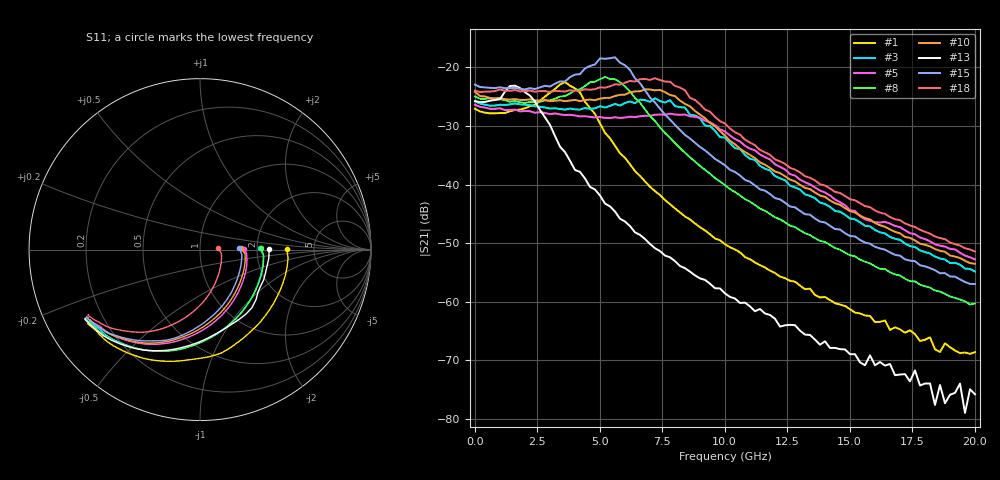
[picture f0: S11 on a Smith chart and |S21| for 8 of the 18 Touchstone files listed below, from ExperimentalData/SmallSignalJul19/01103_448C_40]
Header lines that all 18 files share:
!;Filter: kein Filter
!auto
!SP-Measurements Prober G4
!SP-Measurements Prober G4
!01103_448C
!134
!12
!40
!-20
# Hz S  RI  R 50
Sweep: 10 MHz to 20.01 GHz
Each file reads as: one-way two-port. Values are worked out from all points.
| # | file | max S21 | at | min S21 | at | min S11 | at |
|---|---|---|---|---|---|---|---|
| 1 | 01103_448C_C134R233_I_1mA_40°C.s2p | -22.49 dB | 3.61 GHz | -68.9 dB | 19.81 GHz | -5.9 dB | 10 MHz |
| 2 | 01103_448C_C134R233_I_2mA_40°C.s2p | -24.35 dB | 6.41 GHz | -58.2 dB | 20.01 GHz | -7.6 dB | 10 MHz |
| 3 | 01103_448C_C134R233_I_3mA_40°C.s2p | -25.26 dB | 7.21 GHz | -54.9 dB | 20.01 GHz | -9.1 dB | 10 MHz |
| 4 | 01103_448C_C134R233_I_4mA_40°C.s2p | -26.09 dB | 10 MHz | -53.2 dB | 20.01 GHz | -10.4 dB | 10 MHz |
| 5 | 01103_448C_C134R233_I_5mA_40°C.s2p | -26.38 dB | 10 MHz | -52.8 dB | 20.01 GHz | -11.7 dB | 10 MHz |
| 6 | 01103_448C_C134R233_I_6mA_40°C.s2p | -27.25 dB | 10 MHz | -53.1 dB | 20.01 GHz | -13.2 dB | 10 MHz |
| 7 | 01103_448C_C134R235_I_1mA_40°C.s2p | -21.65 dB | 2.61 GHz | -72.7 dB | 19.41 GHz | -6.9 dB | 10 MHz |
| 8 | 01103_448C_C134R235_I_2mA_40°C.s2p | -21.63 dB | 5.21 GHz | -60.5 dB | 19.81 GHz | -8.9 dB | 10 MHz |
| 9 | 01103_448C_C134R235_I_3mA_40°C.s2p | -22.00 dB | 6.21 GHz | -56.0 dB | 20.01 GHz | -10.7 dB | 10 MHz |
| 10 | 01103_448C_C134R235_I_4mA_40°C.s2p | -23.75 dB | 6.81 GHz | -53.5 dB | 20.01 GHz | -12.4 dB | 10 MHz |
| 11 | 01103_448C_C134R235_I_5mA_40°C.s2p | -24.77 dB | 7.21 GHz | -52.2 dB | 20.01 GHz | -14.1 dB | 10 MHz |
| 12 | 01103_448C_C134R235_I_6mA_40°C.s2p | -25.60 dB | 10 MHz | -51.9 dB | 20.01 GHz | -15.7 dB | 10 MHz |
| 13 | 01103_448C_C134R237_I_1mA_40°C.s2p | -23.12 dB | 1.61 GHz | -79.0 dB | 19.61 GHz | -7.9 dB | 410 MHz |
| 14 | 01103_448C_C134R237_I_2mA_40°C.s2p | -18.59 dB | 4.41 GHz | -62.6 dB | 20.01 GHz | -10.7 dB | 10 MHz |
| 15 | 01103_448C_C134R237_I_3mA_40°C.s2p | -18.27 dB | 5.61 GHz | -57.0 dB | 20.01 GHz | -12.8 dB | 10 MHz |
| 16 | 01103_448C_C134R237_I_4mA_40°C.s2p | -19.80 dB | 6.21 GHz | -53.7 dB | 20.01 GHz | -15.1 dB | 10 MHz |
| 17 | 01103_448C_C134R237_I_5mA_40°C.s2p | -21.33 dB | 6.81 GHz | -52.0 dB | 20.01 GHz | -17.3 dB | 10 MHz |
| 18 | 01103_448C_C134R237_I_6mA_40°C.s2p | -21.85 dB | 7.21 GHz | -51.4 dB | 20.01 GHz | -19.5 dB | 10 MHz |
